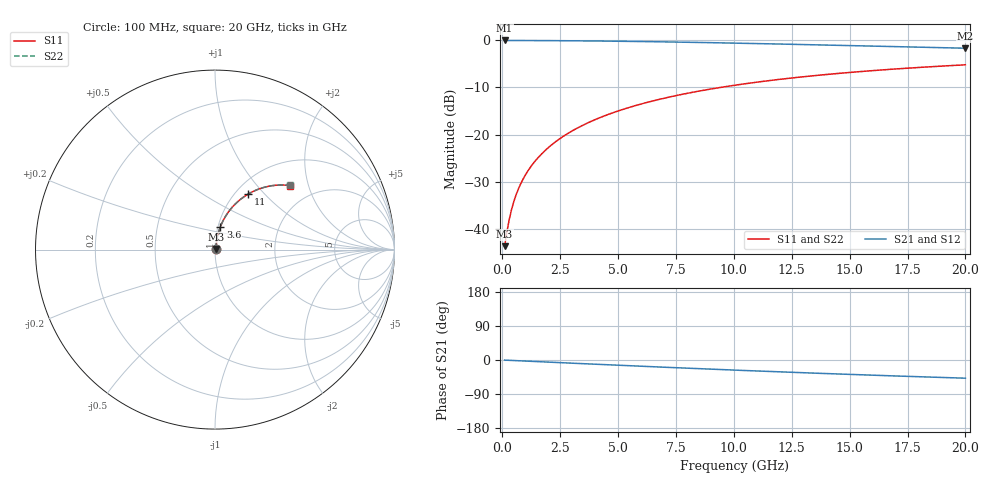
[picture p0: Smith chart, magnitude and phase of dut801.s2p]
! Touchstone file exported from HFSS 2026.1.0
!  File:  C:/ffzhzh/LocalFiles/Ansys_Project_Files/temp_train_BSMRDL_801_1783169714_51560.aedt
!  Generated:  08:56:29 PM Jul  4, 2026
!  Design:  BSMRDL
!  Project:  temp_train_BSMRDL_801_1783169714_51560
! Variables:
!  h_bsmrdl = 3.26um
!  h_ox = 20um
!  h_rdl = 5um
!  h_sub = 80um
!  h_tmrdl = 5um
!  h_tsv = 80um
!  h_via = 3um
!  l_bsmrdl = 618.72um
!  l_sub = 1018.72um
!  l_tmrdl = 200um
!  m_sub = 200um
!  pitch = 55.07um
!  r_tsv = 6um
!  s_tmrdl = 10um
!  w_bsmrdl = 12.72um
!  w_sub = 500um
!  w_tmrdl = 12um
!  x_tsv_center1 = 206um
!  x_tsv_center2 = 837.44um
!  x_tsv_center3 = 1049.44um
!  x_tsv_center4 = 1680.88um
!  x_tsv_center5 = 1892.88um
!  x_tsv_center6 = 2524.32um
# GHz S MA R 50.000000
! Terminal data exported
! Port[1] = BSM_RDL1_1_T1
! Port[2] = BSM_RDL1_1_T2
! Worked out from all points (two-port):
!   200 points, 100 MHz to 20 GHz, reference 50 ohm
!   highest |S21| = -0.05 dB at 100 MHz (marker M1); lowest = -1.7 dB at 20 GHz (marker M2)
!   |S21| within 3 dB of the highest: start of sweep to end of sweep
!   lowest |S11| = -43.7 dB at 100 MHz (marker M3), VSWR 1.01, Z = 50.5 + j0.38 ohm
!   |S11| at or under -10 dB: start of sweep to 9.435 GHz
!   |S22| runs from -43.7 to -5.2 dB; largest |S21 - S12| = 3.2e-15
!   S11 on the Smith chart (normalised r, x): 100 MHz: 1.01, +0.01; 3.6 GHz: 1.03, +0.26; 11 GHz: 1.14, +0.81; 20 GHz: 1.49, +1.53
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0.1  0.006544 35.1  0.9947 -0.3  0.9947 -0.3  0.006544 35.1
! Gamma 0 0 0 0
! Port Impedance 50 0 50 0
0.2  0.00929 53.9  0.9946 -0.6  0.9946 -0.6  0.00929 53.9
0.3  0.01256 63.3  0.9944 -0.9  0.9944 -0.9  0.01256 63.3
0.4  0.01602 68.5  0.9943 -1.1  0.9943 -1.1  0.01602 68.5
0.5  0.01954 71.7  0.9941 -1.4  0.9941 -1.4  0.01954 71.7
0.6  0.02308 73.8  0.994 -1.7  0.994 -1.7  0.02308 73.8
0.8  0.03021 76.4  0.9936 -2.3  0.9936 -2.3  0.03021 76.4
1.1  0.04092 78.3  0.9931 -3.1  0.9931 -3.1  0.04092 78.3
1.5  0.05523 79.2  0.9922 -4.2  0.9922 -4.2  0.05523 79.2
2.1  0.07668 79.2  0.9906 -5.9  0.9906 -5.9  0.07668 79.2
2.7  0.09802 78.5  0.9885 -7.5  0.9885 -7.5  0.09802 78.5
3.5  0.1262 77.0  0.9849 -9.7  0.9849 -9.7  0.1262 77.0
3.6  0.1297 76.8  0.9844 -10.0  0.9844 -10.0  0.1297 76.8
4.3  0.1539 75.3  0.9806 -11.9  0.9806 -11.9  0.1539 75.3
5  0.1777 73.6  0.9762 -13.8  0.9762 -13.8  0.1777 73.7
6.8  0.2367 69.3  0.9627 -18.6  0.9627 -18.6  0.2367 69.3
8.3  0.283 65.6  0.9493 -22.4  0.9493 -22.4  0.283 65.6
10.1  0.335 61.3  0.9315 -26.8  0.9315 -26.8  0.3349 61.3
11  0.3594 59.2  0.922 -29.0  0.922 -29.0  0.3594 59.2
13.4  0.4194 53.8  0.8957 -34.5  0.8957 -34.5  0.4194 53.9
16.7  0.4903 46.9  0.8587 -41.6  0.8587 -41.6  0.4903 47.0
20  0.5486 40.6  0.8229 -48.0  0.8229 -48.0  0.5486 40.6
